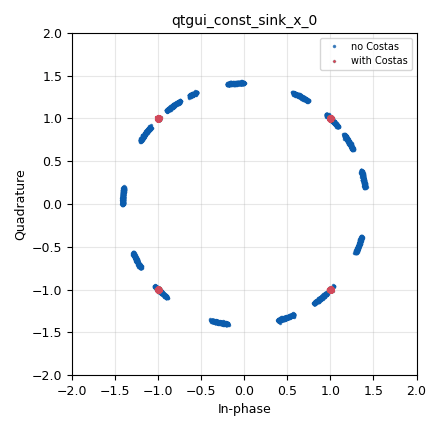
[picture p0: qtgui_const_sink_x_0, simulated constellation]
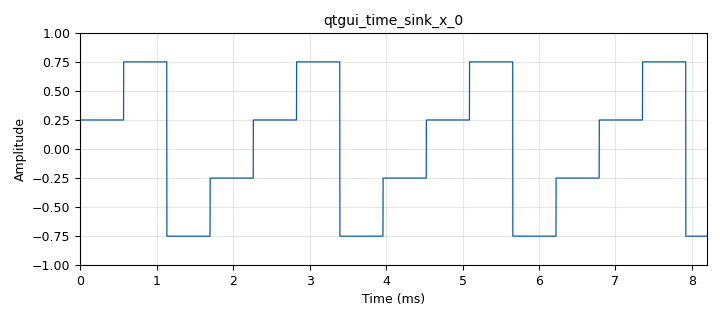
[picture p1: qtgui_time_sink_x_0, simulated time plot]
options:
  parameters:
    generate_options: qt_gui
    id: psk_noise
    output_language: python
    title: Not titled yet
  states: {}

blocks:
- name: bruit
  id: variable_qtgui_range
  parameters:
    orient: Qt.Horizontal
    start: '0'
    step: '.01'
    stop: '1'
    value: '.01'
  states: {}
- name: foff
  id: variable_qtgui_range
  parameters:
    orient: Qt.Horizontal
    start: '0'
    step: '1'
    stop: '1000'
    value: '420'
  states: {}
- name: samp_rate
  id: variable
  parameters:
    value: 1e6
  states: {}
- name: analog_phase_modulator_fc_0
  id: analog_phase_modulator_fc
  parameters:
    sensitivity: '3.14159'
  states: {state: disabled}
- name: analog_phase_modulator_fc_0_0
  id: analog_phase_modulator_fc
  parameters:
    sensitivity: '3.14159'
  states: {}
- name: analog_sig_source_x_0
  id: analog_sig_source_x
  parameters:
    amp: '1'
    freq: '1000'
    offset: '0'
    phase: '0'
    samp_rate: samp_rate
    type: float
    waveform: analog.GR_SQR_WAVE
  states: {state: disabled}
- name: analog_sig_source_x_0_0
  id: analog_sig_source_x
  parameters:
    amp: '1'
    freq: '442'
    offset: '-.75'
    phase: '0'
    samp_rate: samp_rate
    type: float
    waveform: analog.GR_SQR_WAVE
  states: {}
- name: analog_sig_source_x_0_0_0
  id: analog_sig_source_x
  parameters:
    amp: '.5'
    freq: '884'
    offset: '0'
    phase: '0'
    samp_rate: samp_rate
    type: float
    waveform: analog.GR_SQR_WAVE
  states: {}
- name: blocks_add_xx_0
  id: blocks_add_xx
  parameters:
    type: float
  states: {}
- name: blocks_throttle_0
  id: blocks_throttle
  parameters:
    samples_per_second: samp_rate
    type: complex
  states: {}
- name: channels_channel_model_0
  id: channels_channel_model
  parameters:
    epsilon: '1.0'
    freq_offset: foff
    noise_voltage: bruit
    seed: '0'
    taps: 1.0 + 1.0j
  states: {}
- name: digital_costas_loop_cc_0
  id: digital_costas_loop_cc
  parameters:
    order: '4'
    w: '.031'
  states: {}
- name: qtgui_const_sink_x_0
  id: qtgui_const_sink_x
  parameters:
    label1: no Costas
    label2: with Costas
    nconnections: '2'
    size: 1024*8
    type: complex
  states: {}
- name: qtgui_time_sink_x_0
  id: qtgui_time_sink_x
  parameters:
    size: 1024*8
    srate: samp_rate
    tr_mode: qtgui.TRIG_MODE_NORM
    type: float
  states: {}

connections:
- [analog_phase_modulator_fc_0, '0', channels_channel_model_0, '0']
- [analog_phase_modulator_fc_0_0, '0', channels_channel_model_0, '0']
- [analog_sig_source_x_0, '0', analog_phase_modulator_fc_0, '0']
- [analog_sig_source_x_0_0, '0', blocks_add_xx_0, '0']
- [analog_sig_source_x_0_0_0, '0', blocks_add_xx_0, '1']
- [blocks_add_xx_0, '0', analog_phase_modulator_fc_0_0, '0']
- [blocks_add_xx_0, '0', qtgui_time_sink_x_0, '0']
- [blocks_throttle_0, '0', qtgui_const_sink_x_0, '0']
- [channels_channel_model_0, '0', blocks_throttle_0, '0']
- [channels_channel_model_0, '0', digital_costas_loop_cc_0, '0']
- [digital_costas_loop_cc_0, '0', qtgui_const_sink_x_0, '1']

metadata:
  file_format: 1
